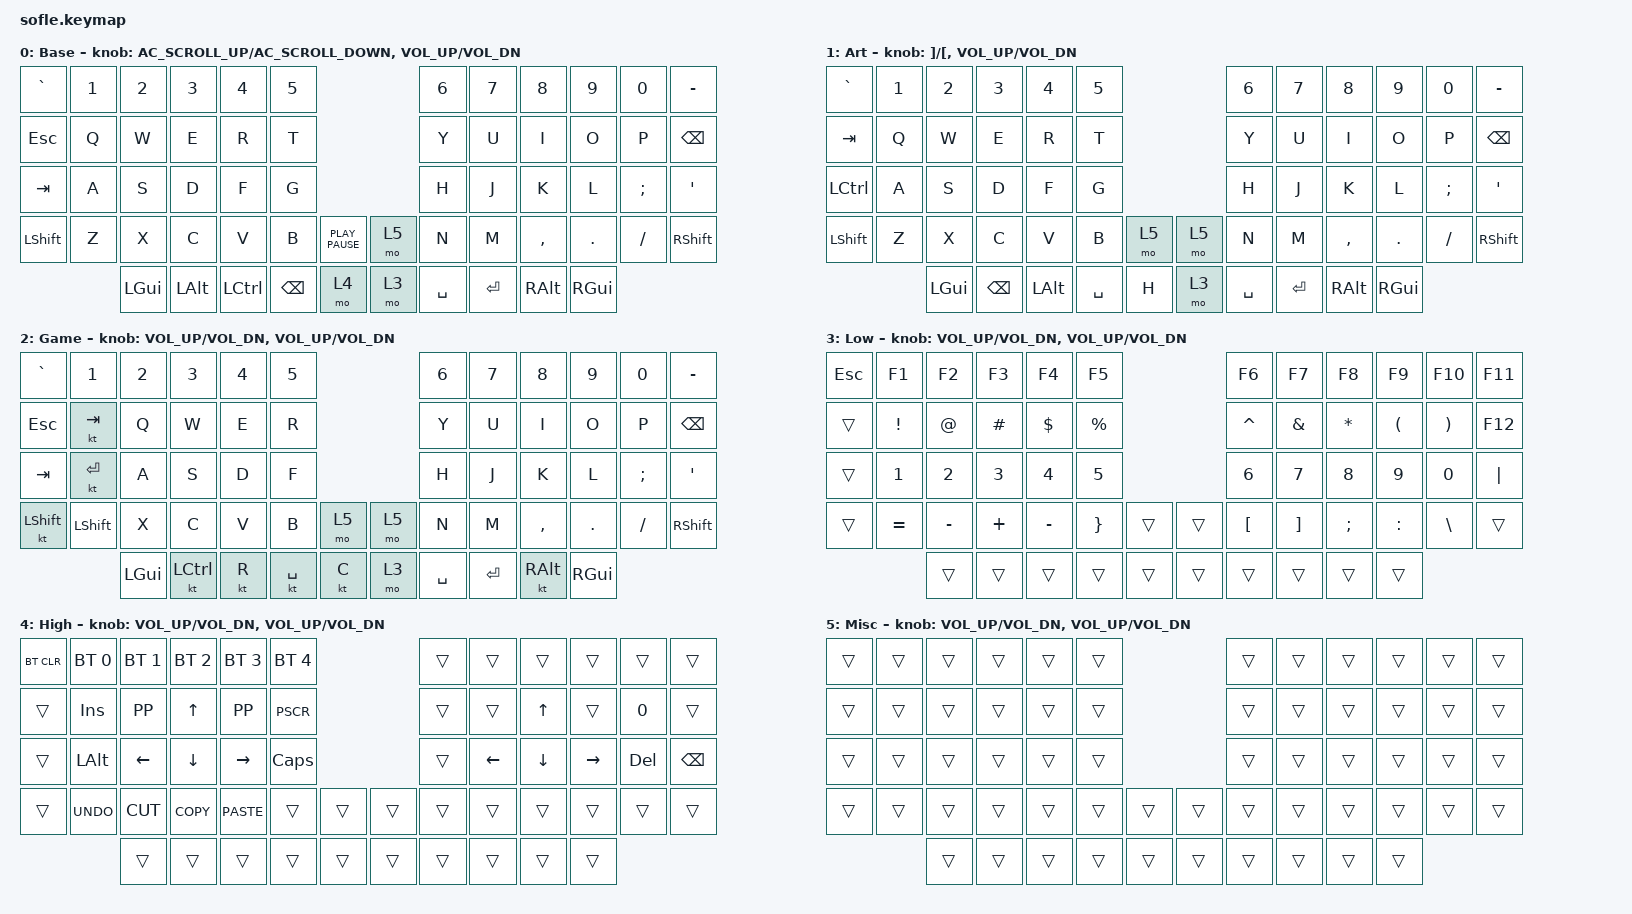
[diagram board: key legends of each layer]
/*
 * Copyright (c) 2020 The ZMK Contributors
 *
 * SPDX-License-Identifier: MIT
 */

#include <behaviors.dtsi>
#include <dt-bindings/zmk/bt.h>
#include <dt-bindings/zmk/keys.h>

/ {
    combos {
        compatible = "zmk,combos";

        L_Shift {
            bindings = <&kp LEFT_SHIFT>;
            key-positions = <27 28>;
            layers = <0 1 2 3 4>;
        };

        R_Shift {
            bindings = <&kp LEFT_SHIFT>;
            key-positions = <31 32>;
        };

        R_Enter {
            bindings = <&kp ENTER>;
            key-positions = <32 33>;
        };

        To_Art {
            bindings = <&to 1>;
            key-positions = <1 2 3 4>;
        };

        To_Gaming {
            bindings = <&to 2>;
            key-positions = <2 3 4 5>;
        };

        L_Alt {
            bindings = <&kp LEFT_ALT>;
            key-positions = <27 28 35>;
            layers = <0 1 2 3 4>;
        };

        To_High {
            bindings = <&to 4>;
            key-positions = <13 14 15 16>;
        };

        Undo {
            bindings = <&kp K_UNDO>;
            key-positions = <27 35>;
            layers = <0 1 2 3 4>;
        };

        Redo {
            bindings = <&kp K_REDO>;
            key-positions = <26 27 35>;
            layers = <0 1 2 3 4>;
        };

        L_Ctrl {
            bindings = <&kp LCTRL>;
            key-positions = <37 38>;
            layers = <0 1 2 3 4>;
        };

        Escape {
            bindings = <&kp ESCAPE>;
            key-positions = <13 14>;
            layers = <0 1 2 3 4>;
        };

        To_Low {
            bindings = <&to 3>;
            key-positions = <31 32 33 34>;
        };

        L_Ctrl2 {
            bindings = <&kp LEFT_CONTROL>;
            key-positions = <26 27>;
            layers = <0 1 2 3 4>;
        };

        To_Base {
            bindings = <&to 0>;
            key-positions = <25 26 27 28>;
        };

        PausePlay {
            bindings = <&kp C_PLAY_PAUSE>;
            key-positions = <14 15>;
            layers = <0 1 2 3 4>;
        };
    };

    keymap {
        compatible = "zmk,keymap";

        Base {
            bindings = <
&kp GRAVE  &kp N1  &kp N2        &kp N3    &kp N4    &kp N5                                    &kp N6     &kp N7     &kp N8     &kp N9    &kp N0    &kp MINUS
&kp ESC    &kp Q   &kp W         &kp E     &kp R     &kp T                                     &kp Y      &kp U      &kp I      &kp O     &kp P     &kp BSPC
&kp TAB    &kp A   &kp S         &kp D     &kp F     &kp G                                     &kp H      &kp J      &kp K      &kp L     &kp SEMI  &kp SQT
&kp LSHFT  &kp Z   &kp X         &kp C     &kp V     &kp B     &kp K_PLAY_PAUSE    &mo 5       &kp N      &kp M      &kp COMMA  &kp DOT   &kp FSLH  &kp RSHFT
                   &kp LEFT_GUI  &kp LALT  &kp LCTRL &kp BSPC  &mo 4               &mo 3       &kp SPACE  &kp ENTER  &kp RALT   &kp RGUI
            >;

            sensor-bindings = <&inc_dec_kp C_AC_SCROLL_UP C_AC_SCROLL_DOWN>, <&inc_dec_kp C_VOL_UP C_VOL_DN>;
        };

        Art {
            bindings = <
&kp GRAVE  &kp N1  &kp N2        &kp N3    &kp N4    &kp N5                                    &kp N6     &kp N7     &kp N8     &kp N9    &kp N0    &kp MINUS
&kp TAB    &kp Q   &kp W         &kp E     &kp R     &kp T                                     &kp Y      &kp U      &kp I      &kp O     &kp P     &kp BSPC
&kp LCTRL  &kp A   &kp S         &kp D     &kp F     &kp G                                     &kp H      &kp J      &kp K      &kp L     &kp SEMI  &kp SQT
&kp LSHFT  &kp Z   &kp X         &kp C     &kp V     &kp B     &mo 5               &mo 5       &kp N      &kp M      &kp COMMA  &kp DOT   &kp FSLH  &kp RSHFT
                   &kp LEFT_GUI  &kp BSPC  &kp LALT  &kp SPACE &kp H               &mo 3       &kp SPACE  &kp ENTER  &kp RALT   &kp RGUI
            >;

            sensor-bindings = <&inc_dec_kp RIGHT_BRACKET LEFT_BRACKET>, <&inc_dec_kp C_VOL_UP C_VOL_DN>;
        };

        Game {
            bindings = <
&kp GRAVE  &kp N1     &kp N2        &kp N3     &kp N4  &kp N5                                    &kp N6     &kp N7     &kp N8     &kp N9    &kp N0    &kp MINUS
&kp ESC    &kt TAB    &kp Q         &kp W      &kp E   &kp R                                     &kp Y      &kp U      &kp I      &kp O     &kp P     &kp BSPC
&kp TAB    &kt RET    &kp A         &kp S      &kp D   &kp F                                     &kp H      &kp J      &kp K      &kp L     &kp SEMI  &kp SQT
&kt LSHFT  &kp LSHFT  &kp X         &kp C      &kp V   &kp B     &mo 5               &mo 5       &kp N      &kp M      &kp COMMA  &kp DOT   &kp FSLH  &kp RSHFT
                      &kp LEFT_GUI  &kt LCTRL  &kt R   &kt SPACE &kt C               &mo 3       &kp SPACE  &kp ENTER  &kt RALT   &kp RGUI
            >;

            sensor-bindings = <&inc_dec_kp C_VOL_UP C_VOL_DN>, <&inc_dec_kp C_VOL_UP C_VOL_DN>;
        };

        Low {
            bindings = <
&kp ESC  &kp F1           &kp F2       &kp F3    &kp F4      &kp F5                                    &kp F6     &kp F7         &kp F8        &kp F9                 &kp F10                &kp F11
&trans   &kp EXCLAMATION  &kp AT_SIGN  &kp HASH  &kp DOLLAR  &kp PERCENT                               &kp CARET  &kp AMPERSAND  &kp ASTERISK  &kp LEFT_PARENTHESIS  &kp RIGHT_PARENTHESIS  &kp F12
&trans   &kp N1           &kp N2       &kp N3    &kp N4      &kp N5                                    &kp N6     &kp N7         &kp N8        &kp N9                 &kp N0                 &kp PIPE
&trans   &kp EQUAL        &kp MINUS    &kp PLUS  &kp MINUS   &kp RBRC    &trans              &trans    &kp LBKT   &kp RBKT       &kp SEMI      &kp COLON              &kp BSLH               &trans
                          &trans       &trans    &trans      &trans      &trans              &trans    &trans     &trans         &trans        &trans
            >;

            sensor-bindings = <&inc_dec_kp C_VOL_UP C_VOL_DN>, <&inc_dec_kp C_VOL_UP C_VOL_DN>;
        };

        High {
            bindings = <
&bt BT_CLR  &bt BT_SEL 0  &bt BT_SEL 1  &bt BT_SEL 2  &bt BT_SEL 3  &bt BT_SEL 4                                &trans    &trans    &trans    &trans     &trans   &trans
&trans      &kp INS       &kp K_PP      &kp UP        &kp K_PP      &kp PSCR                                    &trans    &trans    &kp UP    &trans     &kp N0   &trans
&trans      &kp LALT      &kp LEFT      &kp DOWN      &kp RIGHT     &kp CLCK                                    &trans    &kp LEFT  &kp DOWN  &kp RIGHT  &kp DEL  &kp BSPC
&trans      &kp K_UNDO    &kp K_CUT     &kp K_COPY    &kp K_PASTE   &trans        &trans              &trans    &trans    &trans    &trans    &trans     &trans   &trans
                          &trans        &trans        &trans        &trans        &trans              &trans    &trans    &trans    &trans    &trans
            >;

            sensor-bindings = <&inc_dec_kp C_VOL_UP C_VOL_DN>, <&inc_dec_kp C_VOL_UP C_VOL_DN>;
        };

        Misc {
            bindings = <
&trans  &trans  &trans  &trans  &trans  &trans                                &trans  &trans  &trans  &trans  &trans  &trans
&trans  &trans  &trans  &trans  &trans  &trans                                &trans  &trans  &trans  &trans  &trans  &trans
&trans  &trans  &trans  &trans  &trans  &trans                                &trans  &trans  &trans  &trans  &trans  &trans
&trans  &trans  &trans  &trans  &trans  &trans  &trans              &trans    &trans  &trans  &trans  &trans  &trans  &trans
                &trans  &trans  &trans  &trans  &trans              &trans    &trans  &trans  &trans  &trans
            >;

            sensor-bindings = <&inc_dec_kp C_VOL_UP C_VOL_DN>, <&inc_dec_kp C_VOL_UP C_VOL_DN>;
        };
    };
};
